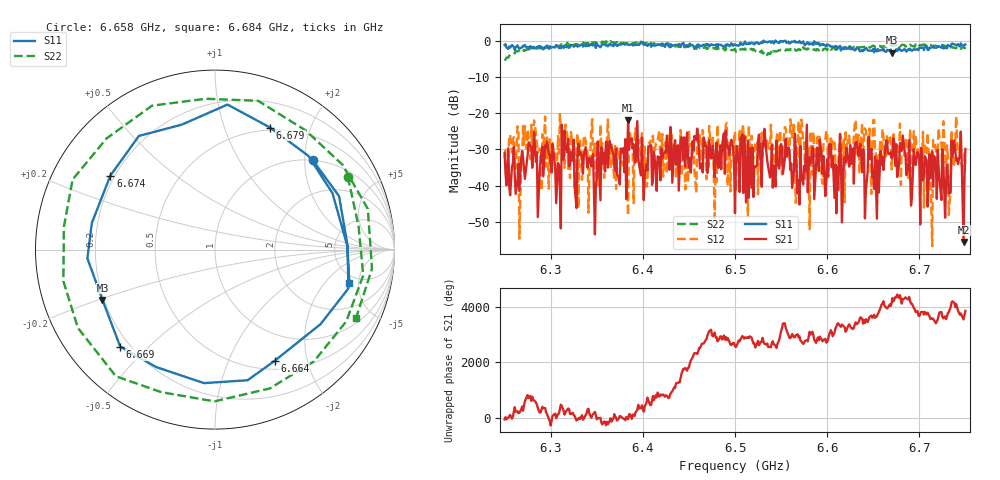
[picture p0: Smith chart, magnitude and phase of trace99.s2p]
# Hz S RI R 50
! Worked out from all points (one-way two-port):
!   401 points, 6.25 GHz to 6.75 GHz, reference 50 ohm
!   highest |S21| = -21.95 dB at 6.384 GHz (marker M1); lowest = -55.6 dB at 6.748 GHz (marker M2)
!   lowest |S11| = -3.3 dB at 6.67 GHz (marker M3), VSWR 5.38, Z = 9.7 - j10.3 ohm
!   |S11| at or under -10 dB: nowhere
!   |S22| runs from -5.4 to -0.1 dB; largest |S21 - S12| = 0.13
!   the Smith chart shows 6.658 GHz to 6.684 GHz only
!   S11 on the Smith chart (normalised r, x): 6.658 GHz: 0.99, +2.18; 6.664 GHz: 0.61, -1.49; 6.669 GHz: 0.16, -0.41; 6.674 GHz: 0.18, +0.31; 6.679 GHz: 0.47, +1.44; 6.684 GHz: 4.14, -3.80
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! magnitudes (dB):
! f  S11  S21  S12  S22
! 6.25 GHz  -1.1  -31.0  -32.3  -5.4
! 6.296 GHz  -1.3  -27.8  -26.1  -1.5
! 6.309 GHz  -2.0  -34.6  -31.2  -1.5
! 6.315 GHz  -1.2  -24.9  -35.1  -1.2
! 6.334 GHz  -0.9  -32.0  -38.4  -0.5
! 6.348 GHz  -1.1  -53.5  -28.4  -0.3
! 6.384 GHz  -1.0  -21.9  -48.3  -0.6
! 6.418 GHz  -1.2  -32.2  -24.7  -1.1
! 6.458 GHz  -1.4  -27.4  -42.0  -2.2
! 6.5 GHz  -1.0  -47.6  -25.1  -2.2
! 6.561 GHz  -0.2  -33.9  -23.5  -2.3
! 6.584 GHz  -0.6  -29.5  -36.9  -2.2
! 6.658 GHz  -2.6  -30.4  -27.2  -1.5
! 6.664 GHz  -3.1  -27.6  -31.9  -1.6
! 6.668 GHz  -2.7  -31.4  -26.4  -1.0
! 6.669 GHz  -2.4  -30.8  -28.1  -1.1
! 6.67 GHz  -3.3  -32.5  -35.5  -1.3
! 6.674 GHz  -2.9  -34.6  -29.6  -1.3
! 6.679 GHz  -2.5  -28.2  -22.9  -1.6
! 6.684 GHz  -2.3  -30.4  -31.8  -1.2
! 6.748 GHz  -1.4  -55.6  -38.6  -1.8
! 6.75 GHz  -1.0  -29.9  -34.5  -2.3
